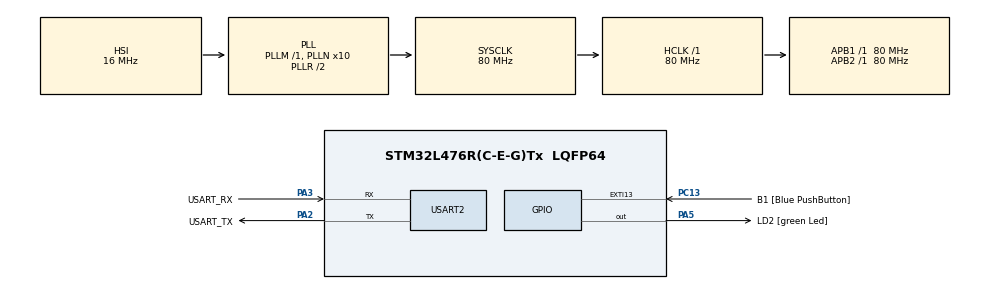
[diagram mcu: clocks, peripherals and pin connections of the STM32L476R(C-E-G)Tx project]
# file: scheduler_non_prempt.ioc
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Mcu.Family=STM32L4
RCC.MSI_VALUE=4000000
RCC.PLLSourceVirtual=RCC_PLLSOURCE_HSI
PA14\ (JTCK-SWCLK).Mode=Serial_Wire
PA2.GPIO_PuPd=GPIO_NOPULL
RCC.CortexFreq_Value=80000000
PH0-OSC_IN\ (PH0).Signal=RCC_OSC_IN
PC13.Signal=GPXTI13
PA3.GPIO_PuPd=GPIO_NOPULL
PA2.GPIO_Speed=GPIO_SPEED_FREQ_VERY_HIGH
PC15-OSC32_OUT\ (PC15).Signal=RCC_OSC32_OUT
PC15-OSC32_OUT\ (PC15).Mode=LSE-External-Oscillator
PA14\ (JTCK-SWCLK).GPIO_Label=TCK
PB3\ (JTDO-TRACESWO).GPIO_Label=SWO
PC13.GPIO_Label=B1 [Blue PushButton]
PA3.GPIO_Speed=GPIO_SPEED_FREQ_VERY_HIGH
PH1-OSC_OUT\ (PH1).Signal=RCC_OSC_OUT
RCC.SYSCLKSource=RCC_SYSCLKSOURCE_PLLCLK
ProjectManager.StackSize=0x400
PB3\ (JTDO-TRACESWO).Signal=SYS_JTDO-SWO
PC14-OSC32_IN\ (PC14).Mode=LSE-External-Oscillator
PA14\ (JTCK-SWCLK).Signal=SYS_JTCK-SWCLK
PA3.Mode=Asynchronous
ProjectManager.TargetToolchain=STM32CubeIDE
PA3.GPIO_Mode=GPIO_MODE_AF_PP
RCC.HCLKFreq_Value=80000000
RCC.APB2TimFreq_Value=80000000
RCC.USBFreq_Value=64000000
RCC.AHBFreq_Value=80000000
RCC.PREFETCH_ENABLE=1
PA5.Signal=GPIO_Output
RCC.HSE_VALUE=8000000
board=NUCLEO-L476RG
USART2.VirtualMode-Asynchronous=VM_ASYNC
RCC.VCOOutputFreq_Value=160000000
RCC.APB2Freq_Value=80000000
PA5.GPIO_ModeDefaultOutputPP=GPIO_MODE_OUTPUT_PP
PA13\ (JTMS-SWDIO).GPIO_Label=TMS
VP_TIM2_VS_ClockSourceINT.Mode=Internal
PA5.GPIO_PuPd=GPIO_NOPULL
NVIC.TIM2_IRQn=true\:0\:0\:false\:false\:true\:true\:true
RCC.ADCFreq_Value=64000000
PC13.GPIO_PuPd=GPIO_NOPULL
TIM2.Period=10000-1
Mcu.Name=STM32L476R(C-E-G)Tx
PA2.Signal=USART2_TX
PA13\ (JTMS-SWDIO).Mode=Serial_Wire
RCC.SYSCLKFreq_VALUE=80000000
Mcu.Package=LQFP64
TIM2.Prescaler=8000-1
PA5.GPIO_Label=LD2 [green Led]
PC13.GPIO_ModeDefaultEXTI=GPIO_MODE_IT_FALLING
PC14-OSC32_IN\ (PC14).Signal=RCC_OSC32_IN
PA2.GPIO_Label=USART_TX
ProjectManager.HeapSize=0x200
RCC.HSI_VALUE=16000000
PA5.GPIO_Speed=GPIO_SPEED_FREQ_LOW
NVIC.PriorityGroup=NVIC_PRIORITYGROUP_4
RCC.PLLN=10
RCC.APB1TimFreq_Value=80000000
PA2.Mode=Asynchronous
PA13\ (JTMS-SWDIO).Signal=SYS_JTMS-SWDIO
RCC.APB1Freq_Value=80000000
PA3.GPIO_Label=USART_RX
PA3.Signal=USART2_RX
PA2.GPIO_Mode=GPIO_MODE_AF_PP

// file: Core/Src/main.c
/* USER CODE BEGIN Header */
/**
 ******************************************************************************
 * @file           : main.c
 * @brief          : Main program body
 ******************************************************************************
 * @attention
 *
 * <h2><center>&copy; Copyright (c) 2021 STMicroelectronics.
 * All rights reserved.</center></h2>
 *
 * This software component is licensed by ST under BSD 3-Clause license,
 * the "License"; You may not use this file except in compliance with the
 * License. You may obtain a copy of the License at:
 *                        opensource.org/licenses/BSD-3-Clause
 *
 ******************************************************************************
 */
/* USER CODE END Header */
#include "main.h"

TIM_HandleTypeDef htim2;

UART_HandleTypeDef huart2;

void SystemClock_Config(void);
static void MX_GPIO_Init(void);
static void MX_USART2_UART_Init(void);
static void MX_TIM2_Init(void);
/* USER CODE BEGIN PFP */
void led_task();
void uart1_task();
void uart2_task();
/* USER CODE END PFP */

/* USER CODE BEGIN 0 */
#define TASK_NUMBER 3
#define LED_PERIOD 10000 // 1s
#define UART_PERIOD1 20000 // 2s
#define UART_PERIOD2 50000 // 50000 5s
#define PERIOD_GCD 10000 // 1s gcd
typedef struct task_ppty_t {
	int period;
	int elapsed_time;
	void (*task)(void);
} task_ppty_t;

task_ppty_t task_list[TASK_NUMBER];
/* USER CODE END 0 */

int main(void) {

	/* MCU Configuration--------------------------------------------------------*/

	/* Reset of all peripherals, Initializes the Flash interface and the Systick. */
	HAL_Init();

	/* Configure the system clock */
	SystemClock_Config();

	/* Initialize all configured peripherals */
	MX_GPIO_Init();
	MX_USART2_UART_Init();
	MX_TIM2_Init();
	/* USER CODE BEGIN 2 */
	set_TimerPeriod(PERIOD_GCD);

	task_list[0].elapsed_time = 0;
	task_list[1].elapsed_time = 0;
	task_list[2].elapsed_time = 0;

	task_list[0].period = LED_PERIOD;
	task_list[1].period = UART_PERIOD1;
	task_list[2].period = UART_PERIOD2;

	task_list[0].task = &led_task;
	task_list[1].task = &uart1_task;
	task_list[2].task = &uart2_task;

	HAL_TIM_Base_Start_IT(&htim2);
	/* USER CODE END 2 */

	/* Infinite loop */
	while (1) {

	}
}

void SystemClock_Config(void) {
	RCC_OscInitTypeDef RCC_OscInitStruct = { 0 };
	RCC_ClkInitTypeDef RCC_ClkInitStruct = { 0 };
	RCC_PeriphCLKInitTypeDef PeriphClkInit = { 0 };

	/** Initializes the RCC Oscillators according to the specified parameters
	 * in the RCC_OscInitTypeDef structure.
	 */
	RCC_OscInitStruct.OscillatorType = RCC_OSCILLATORTYPE_HSI;
	RCC_OscInitStruct.HSIState = RCC_HSI_ON;
	RCC_OscInitStruct.HSICalibrationValue = RCC_HSICALIBRATION_DEFAULT;
	RCC_OscInitStruct.PLL.PLLState = RCC_PLL_ON;
	RCC_OscInitStruct.PLL.PLLSource = RCC_PLLSOURCE_HSI;
	RCC_OscInitStruct.PLL.PLLM = 1;
	RCC_OscInitStruct.PLL.PLLN = 10;
	RCC_OscInitStruct.PLL.PLLP = RCC_PLLP_DIV7;
	RCC_OscInitStruct.PLL.PLLQ = RCC_PLLQ_DIV2;
	RCC_OscInitStruct.PLL.PLLR = RCC_PLLR_DIV2;
	if (HAL_RCC_OscConfig(&RCC_OscInitStruct) != HAL_OK) {
		Error_Handler();
	}
	/** Initializes the CPU, AHB and APB buses clocks
	 */
	RCC_ClkInitStruct.ClockType = RCC_CLOCKTYPE_HCLK | RCC_CLOCKTYPE_SYSCLK
			| RCC_CLOCKTYPE_PCLK1 | RCC_CLOCKTYPE_PCLK2;
	RCC_ClkInitStruct.SYSCLKSource = RCC_SYSCLKSOURCE_PLLCLK;
	RCC_ClkInitStruct.AHBCLKDivider = RCC_SYSCLK_DIV1;
	RCC_ClkInitStruct.APB1CLKDivider = RCC_HCLK_DIV1;
	RCC_ClkInitStruct.APB2CLKDivider = RCC_HCLK_DIV1;

	if (HAL_RCC_ClockConfig(&RCC_ClkInitStruct, FLASH_LATENCY_4) != HAL_OK) {
		Error_Handler();
	}
	PeriphClkInit.PeriphClockSelection = RCC_PERIPHCLK_USART2;
	PeriphClkInit.Usart2ClockSelection = RCC_USART2CLKSOURCE_PCLK1;
	if (HAL_RCCEx_PeriphCLKConfig(&PeriphClkInit) != HAL_OK) {
		Error_Handler();
	}
	/** Configure the main internal regulator output voltage
	 */
	if (HAL_PWREx_ControlVoltageScaling(PWR_REGULATOR_VOLTAGE_SCALE1)
			!= HAL_OK) {
		Error_Handler();
	}
}

static void MX_TIM2_Init(void) {

	TIM_ClockConfigTypeDef sClockSourceConfig = { 0 };
	TIM_MasterConfigTypeDef sMasterConfig = { 0 };

	htim2.Instance = TIM2;
	htim2.Init.Prescaler = 8000 - 1;
	htim2.Init.CounterMode = TIM_COUNTERMODE_UP;
	htim2.Init.Period = 10000 - 1;
	htim2.Init.ClockDivision = TIM_CLOCKDIVISION_DIV1;
	htim2.Init.AutoReloadPreload = TIM_AUTORELOAD_PRELOAD_DISABLE;
	if (HAL_TIM_Base_Init(&htim2) != HAL_OK) {
		Error_Handler();
	}
	sClockSourceConfig.ClockSource = TIM_CLOCKSOURCE_INTERNAL;
	if (HAL_TIM_ConfigClockSource(&htim2, &sClockSourceConfig) != HAL_OK) {
		Error_Handler();
	}
	sMasterConfig.MasterOutputTrigger = TIM_TRGO_RESET;
	sMasterConfig.MasterSlaveMode = TIM_MASTERSLAVEMODE_DISABLE;
	if (HAL_TIMEx_MasterConfigSynchronization(&htim2, &sMasterConfig)
			!= HAL_OK) {
		Error_Handler();
	}

}

static void MX_USART2_UART_Init(void) {

	huart2.Instance = USART2;
	huart2.Init.BaudRate = 115200;
	huart2.Init.WordLength = UART_WORDLENGTH_8B;
	huart2.Init.StopBits = UART_STOPBITS_1;
	huart2.Init.Parity = UART_PARITY_NONE;
	huart2.Init.Mode = UART_MODE_TX_RX;
	huart2.Init.HwFlowCtl = UART_HWCONTROL_NONE;
	huart2.Init.OverSampling = UART_OVERSAMPLING_16;
	huart2.Init.OneBitSampling = UART_ONE_BIT_SAMPLE_DISABLE;
	huart2.AdvancedInit.AdvFeatureInit = UART_ADVFEATURE_NO_INIT;
	if (HAL_UART_Init(&huart2) != HAL_OK) {
		Error_Handler();
	}

}

static void MX_GPIO_Init(void) {
	GPIO_InitTypeDef GPIO_InitStruct = { 0 };

	/* GPIO Ports Clock Enable */
	__HAL_RCC_GPIOC_CLK_ENABLE();
	__HAL_RCC_GPIOH_CLK_ENABLE();
	__HAL_RCC_GPIOA_CLK_ENABLE();
	__HAL_RCC_GPIOB_CLK_ENABLE();

	/*Configure GPIO pin Output Level */
	HAL_GPIO_WritePin(LD2_GPIO_Port, LD2_Pin, GPIO_PIN_RESET);

	/*Configure GPIO pin : B1_Pin */
	GPIO_InitStruct.Pin = B1_Pin;
	GPIO_InitStruct.Mode = GPIO_MODE_IT_FALLING;
	GPIO_InitStruct.Pull = GPIO_NOPULL;
	HAL_GPIO_Init(B1_GPIO_Port, &GPIO_InitStruct);

	/*Configure GPIO pin : LD2_Pin */
	GPIO_InitStruct.Pin = LD2_Pin;
	GPIO_InitStruct.Mode = GPIO_MODE_OUTPUT_PP;
	GPIO_InitStruct.Pull = GPIO_NOPULL;
	GPIO_InitStruct.Speed = GPIO_SPEED_FREQ_LOW;
	HAL_GPIO_Init(LD2_GPIO_Port, &GPIO_InitStruct);

}

/* USER CODE BEGIN 4 */
void HAL_TIM_PeriodElapsedCallback(TIM_HandleTypeDef *htim) {

	if (htim == &htim2) {
		//HAL_GPIO_TogglePin(LD2_GPIO_Port, LD2_Pin);
		scheduler();

	}
}

void set_TimerPeriod(int timer_period) {
	htim2.Init.Period = timer_period;
	if (HAL_TIM_Base_Init(&htim2) != HAL_OK) {

	}
}
void led_task() {

	HAL_GPIO_TogglePin(LD2_GPIO_Port, LD2_Pin);

}

void uart1_task() {
	char *msg = "message from uart1_task \n";
	HAL_UART_Transmit(&huart2, (uint8_t*) msg, strlen(msg), 22);

}

void uart2_task() {
	char *msg = "message from uart2_task \n";
	HAL_UART_Transmit(&huart2, (uint8_t*) msg, strlen(msg), 22);

}
void scheduler() {

	for (int current_task = 0; current_task < TASK_NUMBER; current_task++) {

		if (task_list[current_task].elapsed_time>=task_list[current_task].period){
			task_list[current_task].task();
			task_list[current_task].elapsed_time=0;
		}
		task_list[current_task].elapsed_time+=PERIOD_GCD;
	}

}

/* USER CODE END 4 */

void Error_Handler(void) {
	__disable_irq();
	while (1) {
	}
}

/************************ (C) COPYRIGHT STMicroelectronics *****END OF FILE****/
